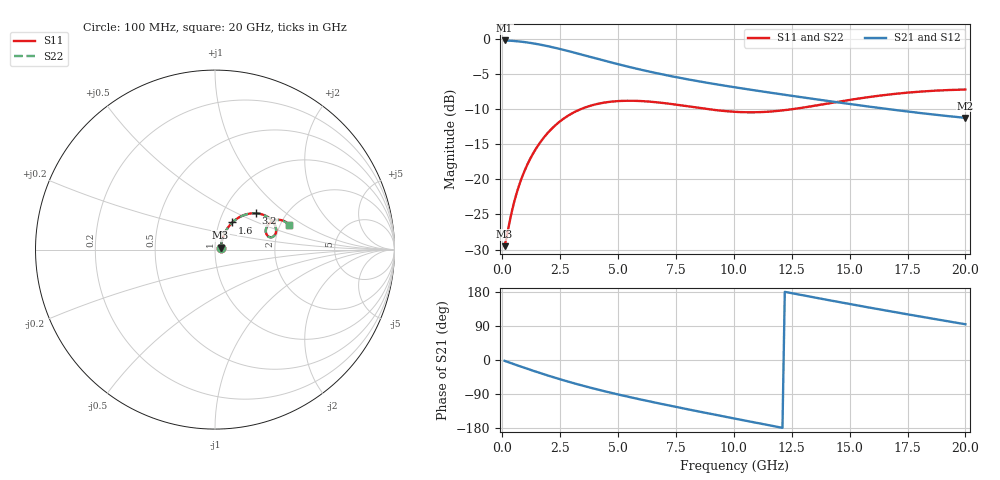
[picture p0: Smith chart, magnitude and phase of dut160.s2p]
! Touchstone file exported from HFSS 2024.1.0
!  File:  C:/UserFiles/LocalFiles/RDL_TSV_Batchsim/temp_RDL_TSV_160_1779433714.aedt
!  Generated:  03:25:19 PM May 22, 2026
!  Design:  RDL_TSV
!  Project:  temp_RDL_TSV_160_1779433714
!  Setup:  Setup1
!  Solution:  Sweep
! Variables:
!  dtsv = 9.63um
!  hbump = 3um
!  htsv = 60.56um
!  ldown = 601.73um
!  lrdl = 592.06um
!  p = 40
!  p1 = 44.2um
!  rhole = 10um
!  subl = 4173.43um
!  t = 450um
!  tdown = 3.62um
!  trdl = 4.07um
!  viad = 10um
!  wdown = 11.25um
!  wrdl = 12.77um
!  xbump = 18um
# GHz S MA R 50.000000
! Terminal data exported
! Port[1] = TM1_1_T1
! Port[2] = TM1_4_T1
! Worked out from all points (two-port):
!   200 points, 100 MHz to 20 GHz, reference 50 ohm
!   highest |S21| = -0.28 dB at 100 MHz (marker M1); lowest = -11.3 dB at 20 GHz (marker M2)
!   |S21| within 3 dB of the highest: start of sweep to 4.56 GHz
!   lowest |S11| = -29.5 dB at 100 MHz (marker M3), VSWR 1.07, Z = 53.2 + j1.23 ohm
!   |S11| at or under -10 dB: start of sweep to 3.418 GHz; 8.8 GHz to 12.62 GHz (3.817 GHz wide, 35.6 % of centre)
!   |S22| runs from -29.5 to -7.3 dB; largest |S21 - S12| = 7.1e-15
!   S11 on the Smith chart (normalised r, x): 100 MHz: 1.06, +0.02; 1.6 GHz: 1.15, +0.36; 3.2 GHz: 1.42, +0.64; 20 GHz: 2.23, +0.75
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0.1  0.03347 20.2  0.9686 -2.2  0.9686 -2.2  0.03347 20.2
! Gamma 0 0 0 0
! Port Impedance 50 0 50 0
0.4  0.05781 50.1  0.9631 -8.8  0.9631 -8.8  0.05782 50.0
0.7  0.08787 57.9  0.9538 -15.2  0.9538 -15.2  0.08788 57.8
1.1  0.129 59.8  0.9363 -23.6  0.9363 -23.6  0.129 59.7
1.6  0.1792 57.4  0.9072 -33.7  0.9072 -33.7  0.1792 57.4
2  0.2168 54.1  0.8796 -41.6  0.8796 -41.6  0.2167 54.0
2.4  0.2507 50.1  0.8496 -49.1  0.8496 -49.1  0.2506 50.0
2.8  0.2802 45.9  0.8182 -56.3  0.8182 -56.3  0.2801 45.8
3.2  0.3049 41.6  0.7866 -63.2  0.7866 -63.2  0.3047 41.5
3.5  0.3202 38.5  0.7631 -68.2  0.7631 -68.2  0.3199 38.4
4.2  0.3456 31.7  0.7108 -79.2  0.7108 -79.2  0.3452 31.6
5.1  0.3601 24.4  0.6507 -92.3  0.6507 -92.3  0.3596 24.2
5.9  0.3601 19.2  0.6048 -103.2  0.6048 -103.2  0.3595 19.1
6.8  0.3505 15.1  0.561 -115.0  0.561 -115.0  0.3498 15.0
8.4  0.3229 12.4  0.4992 -134.9  0.4992 -134.9  0.3221 12.3
10.1  0.3011 15.4  0.4487 -155.4  0.4487 -155.4  0.3002 15.4
11.7  0.3039 21.1  0.4094 -174.3  0.4094 -174.3  0.303 21.0
13.4  0.331 25.4  0.3729 165.9  0.3729 165.9  0.3301 25.4
15  0.3661 26.2  0.3426 147.8  0.3426 147.8  0.3652 26.1
16.7  0.4 24.4  0.3146 129.1  0.3146 129.1  0.399 24.3
18.3  0.4222 21.5  0.2923 112.1  0.2923 112.1  0.4212 21.4
20  0.4339 18.2  0.273 94.3  0.273 94.3  0.4329 18.1
